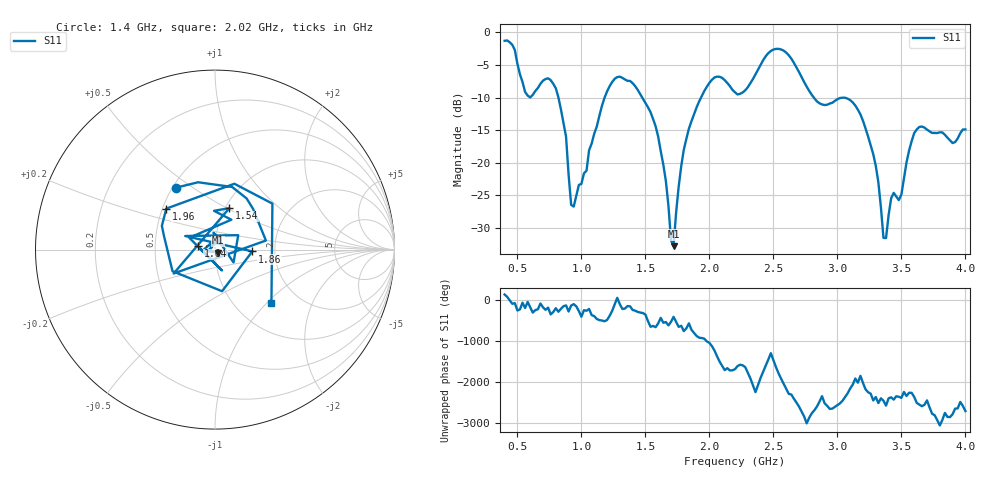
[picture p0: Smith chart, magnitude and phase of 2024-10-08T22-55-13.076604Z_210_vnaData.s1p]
! Created with skrf (http://scikit-rf.org).
# Hz S RI R 50.0
!freq ReS11 ImS11
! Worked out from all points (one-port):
!   181 points, 400 MHz to 4 GHz, reference 50 ohm
!   lowest |S11| = -32.8 dB at 1.72 GHz (marker M1), VSWR 1.05, Z = 51.6 - j1.71 ohm
!   |S11| at or under -10 dB: 820.4 MHz to 1.181 GHz (361.1 MHz wide, 36.1 % of centre); 1.475 GHz to 1.935 GHz (459.5 MHz wide, 27 % of centre); 2.815 GHz to end of sweep
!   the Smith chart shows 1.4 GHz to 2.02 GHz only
!   S11 on the Smith chart (normalised r, x): 1.4 GHz: 0.52, +0.43; 1.54 GHz: 1.04, +0.51; 1.64 GHz: 0.83, +0.03; 1.86 GHz: 1.52, -0.03; 1.96 GHz: 0.52, +0.27; 2.02 GHz: 1.46, -1.06
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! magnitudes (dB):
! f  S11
! 400 MHz  -1.3
! 580 MHz  -9.7
! 760 MHz  -7.3
! 860 MHz  -13.9
! 920 MHz  -26.5
! 940 MHz  -26.7
! 1.18 GHz  -10.1
! 1.3 GHz  -6.8
! 1.4 GHz  -7.8
! 1.54 GHz  -12.2
! 1.64 GHz  -20.3
! 1.72 GHz  -32.8
! 1.76 GHz  -23.7
! 1.86 GHz  -13.6
! 1.96 GHz  -9.0
! 2.02 GHz  -7.3
! 2.2 GHz  -9.2
! 2.5 GHz  -2.6
! 2.66 GHz  -4.7
! 2.86 GHz  -10.9
! 3.1 GHz  -10.4
! 3.28 GHz  -18.7
! 3.36 GHz  -31.5
! 3.42 GHz  -25.5
! 3.5 GHz  -24.9
! 3.56 GHz  -18.1
! 3.64 GHz  -14.5
! 4 GHz  -14.9
